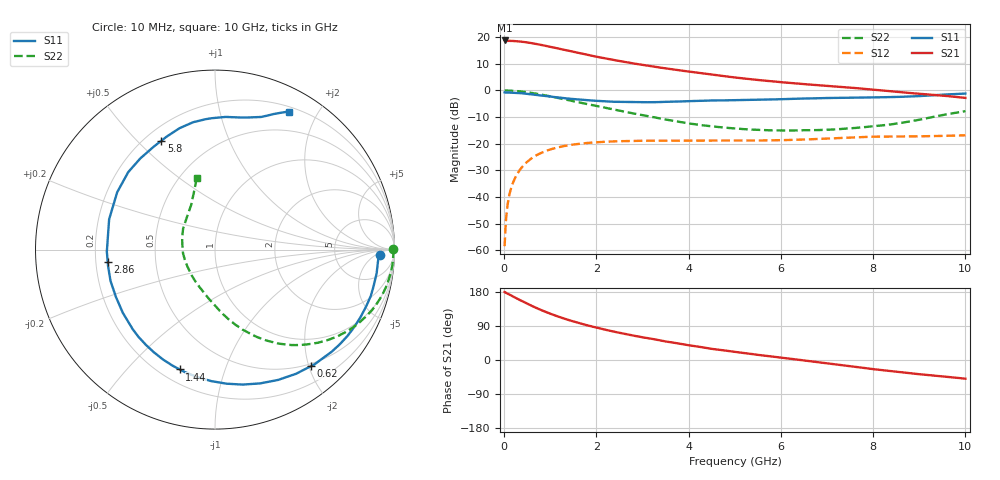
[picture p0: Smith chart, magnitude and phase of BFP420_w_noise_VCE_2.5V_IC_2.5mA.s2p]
! Infineon Technologies  Discrete & RF Semiconductors
! BFP420
! VCE =  2.5 V,  IC =  2.5 mA
! Common Emitter S-Parameters:  Jan 2016
# GHz  S  MA  R  50
!  f  S11  S21  S12  S22
! GHz  MAG  ANG  MAG  ANG  MAG  ANG  MAG  ANG
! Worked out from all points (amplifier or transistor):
!   233 points, 10 MHz to 10 GHz, reference 50 ohm
!   highest |S21| = 18.7 dB at 10 MHz (marker M1)
!   |S21| within 3 dB of that: start of sweep to 1.163 GHz
!   unconditionally stable (mu >= 1): 3.678 GHz to end of sweep
!   at 200 MHz: K = 0.04, MSG = 26.4 dB, |S12| = -34.3 dB
!   at 1.74 GHz: K = 0.41, MSG = 16.7 dB, |S12| = -19.8 dB
!   at 10 GHz: K = 1.19, MAG = 4.3 dB, |S12| = -16.8 dB
!   lowest NFmin = 0.55 dB at 900 MHz
!   S11 on the Smith chart (normalised r, x): 10 MHz: 21, -8; 620 MHz: 0.46, -2.03; 1.44 GHz: 0.27, -0.71; 2.86 GHz: 0.25, -0.05; 5.8 GHz: 0.26, +0.59; 10 GHz: 0.25, +1.64
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0.01  0.9193 -1.8  8.647 179.2  0.0012 55.8  0.9932 0.1
0.02  0.9129 -1.6  8.43 178.9  0.0019 87.5  0.994 -0.9
0.06  0.9101 -4.9  8.476 176.1  0.0057 85.3  0.9935 -2.8
0.155  0.9069 -12.9  8.482 170.1  0.0151 82.8  0.988 -7.4
0.38  0.8832 -31.5  8.19 155.8  0.0358 72.4  0.953 -17.9
0.5  0.8639 -41.2  7.944 148.6  0.0459 67.2  0.9249 -23.2
0.62  0.841 -50.6  7.642 141.6  0.0551 62.0  0.8916 -28.2
0.8  0.8067 -64.2  7.143 131.9  0.0672 55.1  0.8373 -35.2
1  0.7678 -78.4  6.58 122.2  0.0782 48.2  0.774 -42.1
1.2  0.7328 -91.7  6.025 113.3  0.0869 42.1  0.7121 -48.3
1.44  0.6961 -106.4  5.422 103.9  0.0948 35.8  0.6437 -54.8
1.68  0.6674 -119.8  4.899 95.5  0.1008 30.4  0.5821 -60.4
1.9  0.6465 -131.3  4.468 88.4  0.105 26.0  0.5316 -65.2
2.2  0.6228 -145.5  3.977 79.7  0.1091 20.9  0.4712 -71.0
2.86  0.6017 -173.6  3.148 63.1  0.1133 12.0  0.3621 -82.9
3.4  0.6071 167.3  2.666 51.4  0.1141 6.7  0.2952 -93.1
4.5  0.6482 138.2  1.979 29.4  0.1148 -0.5  0.212 -119.7
5.1  0.6577 127.6  1.711 19.9  0.1148 -2.9  0.1906 -134.6
5.8  0.6762 116.2  1.482 9.3  0.1158 -4.6  0.1782 -153.9
6.8  0.7128 102.3  1.253 -5.7  0.123 -7.1  0.1804 178.5
8.4  0.7495 79.1  0.96 -29.7  0.1365 -16.2  0.2315 134.2
10  0.8722 61.9  0.724 -49.3  0.144 -22.7  0.4094 104.5
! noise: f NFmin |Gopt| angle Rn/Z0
0.9  0.55  0.41  33  0.2
1.8  1.02  0.24  78  0.16
2.4  1.11  0.26  103  0.15
3  1.28  0.27  140  0.11
4  1.5  0.34  -163  0.1
5  1.85  0.4  -130  0.26
6  2.56  0.5  -109  0.35
